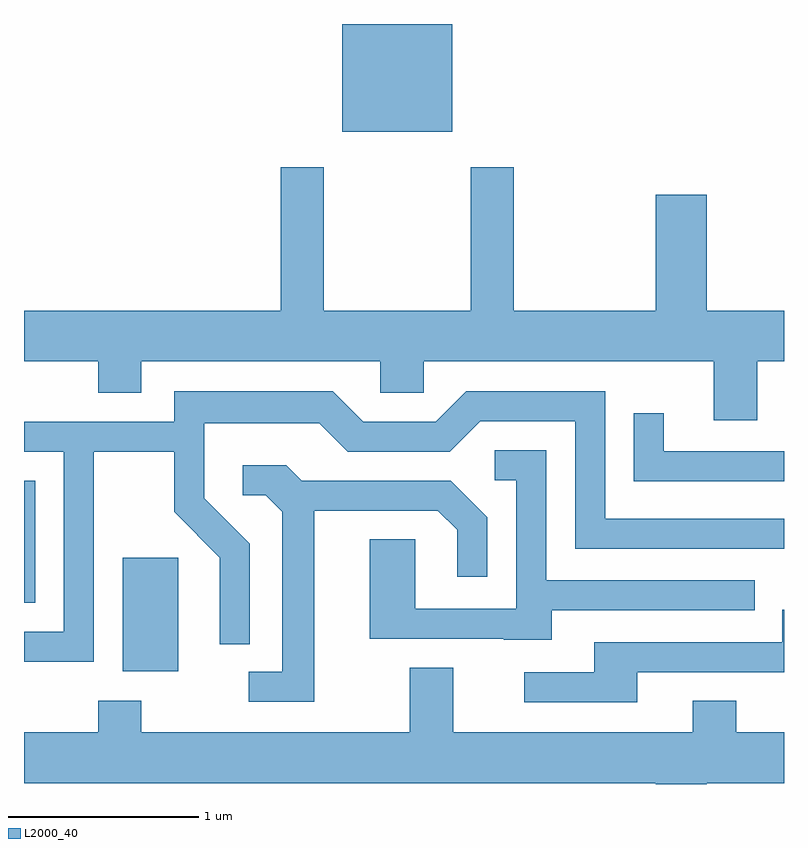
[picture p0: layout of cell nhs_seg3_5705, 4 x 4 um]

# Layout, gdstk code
import gdstk
lib = gdstk.Library(unit=1e-6, precision=1e-09)
def R(c, l, rs):  # rectangles x0, y0, x1, y1
    for r in rs: c.add(gdstk.rectangle(r[:2], r[2:], *l))
def P(c, l, *ps):  # polygons
    for p in ps: c.add(gdstk.Polygon(p, *l))
L2000_40 = (2000, 40)

nhs_seg3_5705 = lib.new_cell('nhs_seg3_5705')
R(nhs_seg3_5705, L2000_40, [(352.131,1246.486,352.424,1247.084), (351.611,1246.846,351.669,1247.489), (353.286,1249.326,353.864,1249.892)])
P(nhs_seg3_5705, L2000_40, [(355.469,1248.116),(355.611,1248.116),(355.611,1248.384),(355.204,1248.384),(355.204,1248.994),(354.936,1248.994),(354.936,1248.384),(354.189,1248.384),(354.189,1249.139),(353.961,1249.139),(353.961,1248.384),(353.189,1248.384),(353.189,1249.139),(352.961,1249.139),(352.961,1248.384),(351.611,1248.384),(351.611,1248.116),(352.001,1248.116),(352.001,1247.951),(352.229,1247.951),(352.229,1248.116),(353.486,1248.116),(353.486,1247.951),(353.714,1247.951),(353.714,1248.116),(355.241,1248.116),(355.241,1247.806),(355.469,1247.806)],
  [(351.979,1247.641),(352.401,1247.641),(352.401,1247.324),(352.641,1247.084),(352.641,1246.628),(352.799,1246.628),(352.799,1247.157),(352.559,1247.397),(352.559,1247.791),(353.164,1247.791),(353.314,1247.641),(353.852,1247.641),(354.012,1247.801),(354.511,1247.801),(354.511,1247.131),(355.611,1247.131),(355.611,1247.289),(354.669,1247.289),(354.669,1247.959),(353.939,1247.959),(353.779,1247.799),(353.397,1247.799),(353.237,1247.959),(352.401,1247.959),(352.401,1247.799),(351.611,1247.799),(351.611,1247.641),(351.821,1247.641),(351.821,1246.694),(351.611,1246.694),(351.611,1246.536),(351.979,1246.536)],
  [(355.611,1247.644),(354.979,1247.644),(354.979,1247.843),(354.821,1247.843),(354.821,1247.486),(355.611,1247.486)],
  [(354.389,1246.806),(355.458,1246.806),(355.458,1246.964),(354.359,1246.964),(354.359,1247.649),(354.088,1247.649),(354.088,1247.491),(354.201,1247.491),(354.201,1246.814),(353.669,1246.814),(353.669,1247.179),(353.431,1247.179),(353.431,1246.656),(354.135,1246.656),(354.135,1246.651),(354.389,1246.651)],
  [(353.139,1247.331),(353.789,1247.331),(353.891,1247.229),(353.891,1246.983),(354.049,1246.983),(354.049,1247.297),(353.857,1247.489),(353.072,1247.489),(352.992,1247.569),(352.763,1247.569),(352.763,1247.411),(352.884,1247.411),(352.971,1247.324),(352.971,1246.484),(352.793,1246.484),(352.793,1246.326),(353.139,1246.326)],
  [(354.839,1246.481),(355.611,1246.481),(355.611,1246.809),(355.601,1246.809),(355.601,1246.639),(354.611,1246.639),(354.611,1246.479),(354.243,1246.479),(354.243,1246.321),(354.839,1246.321)],
  [(355.204,1245.896),(355.611,1245.896),(355.611,1246.164),(355.359,1246.164),(355.359,1246.329),(355.131,1246.329),(355.131,1246.164),(353.869,1246.164),(353.869,1246.504),(353.641,1246.504),(353.641,1246.164),(352.229,1246.164),(352.229,1246.329),(352.001,1246.329),(352.001,1246.164),(351.611,1246.164),(351.611,1245.896),(354.936,1245.896),(354.936,1245.892),(355.204,1245.892)])

lib.write_gds('nhs_seg3_5705.gds')
